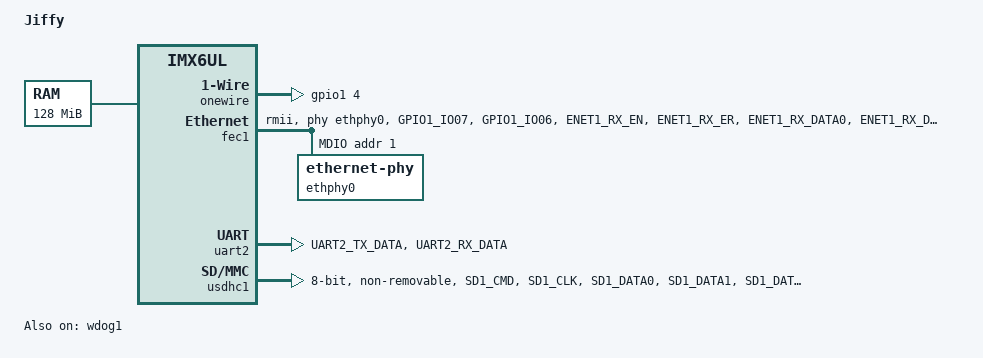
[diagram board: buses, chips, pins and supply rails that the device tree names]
/*
 * Jiffy R1 - J. Persson <jonpe960@gmail.com>
 */

/dts-v1/;

#include "imx6ul-jiffy.dtsi"

/ {
        model = "Jiffy";
        compatible = "fsl,imx6ul-14x14-evk", "fsl,imx6ul";

        chosen {
                bootargs = "console=ttymxc1,115200 ";
                linux,initrd-start = <0x00000000>;
                linux,initrd-end = <0x00000000>;
                stdout-path = &uart2;
        };

        memory@80000000 {
		device_type = "memory";
                reg = <0x80000000 0x8000000>;
        };

        regulators {
                compatible = "simple-bus";
                #address-cells = <1>;
                #size-cells = <0>;


        };

        onewire {
                compatible = "w1-gpio";
                gpios = <&gpio1 4 GPIO_ACTIVE_HIGH>;
        };
};

&clks {
        assigned-clocks = <&clks IMX6UL_CLK_PLL4_AUDIO_DIV>;
        assigned-clock-rates = <786432000>;
};

&fec1 {
        pinctrl-names = "default";
        pinctrl-0 = <&pinctrl_enet1>;
        phy-mode = "rmii";
        phy-handle = <&ethphy0>;
        phy-reset-gpios = <&gpio1 22 GPIO_ACTIVE_LOW>;
        phy-reset-duration = <10>;
        phy-reset-post-delay = <1>;
        status = "okay";
        mac-address = [5e fd f9 ca b5 3e];
        mdio {
                #address-cells = <1>;
                #size-cells = <0>;

                ethphy0: ethernet-phy@1 {
                        reg = <1>;
            status = "okay";
                };

        };

};

&snvs_poweroff {
        status = "okay";
};

&uart2 {
        pinctrl-names = "default";
        pinctrl-0 = <&pinctrl_uart2>;
        status = "okay";
};

&usdhc1 {
        pinctrl-names = "default";
        pinctrl-0 = <&pinctrl_usdhc1>;
        bus-width = <8>;
        no-1-8-v;
        non-removable;
        keep-power-in-suspend;
        no-sdio;
        no-sd;
        status = "okay";
};

&wdog1 {
        status = "okay";
};

&iomuxc {
        pinctrl-names = "default";
        pinctrl_enet1: enet1grp {
                fsl,pins = <
                        MX6UL_PAD_GPIO1_IO07__ENET1_MDC		0x1b0b0
                        MX6UL_PAD_GPIO1_IO06__ENET1_MDIO	0x1b0b0
                        MX6UL_PAD_ENET1_RX_EN__ENET1_RX_EN	0x1b0b0
                        MX6UL_PAD_ENET1_RX_ER__ENET1_RX_ER	0x1b0b0
                        MX6UL_PAD_ENET1_RX_DATA0__ENET1_RDATA00	0x1b0b0
                        MX6UL_PAD_ENET1_RX_DATA1__ENET1_RDATA01	0x1b0b0
                        MX6UL_PAD_ENET1_TX_EN__ENET1_TX_EN	0x1b0b0
                        MX6UL_PAD_ENET1_TX_DATA0__ENET1_TDATA00	0x1b0b0
                        MX6UL_PAD_ENET1_TX_DATA1__ENET1_TDATA01	0x1b0b0
                        MX6UL_PAD_ENET1_TX_CLK__ENET1_REF_CLK1	0x4001b031
                        // MX6UL_PAD_UART2_CTS_B__GPIO1_IO22	0x17059
                >;
        };

        pinctrl_uart2: uart2grp {
                fsl,pins = <
                        MX6UL_PAD_UART2_TX_DATA__UART2_DCE_TX	0x1b0b1
                        MX6UL_PAD_UART2_RX_DATA__UART2_DCE_RX	0x1b0b1
                >;
        };

        pinctrl_usdhc1: usdhc1grp {
                fsl,pins = <
                        MX6UL_PAD_SD1_CMD__USDHC1_CMD     0x170f9
                        MX6UL_PAD_SD1_CLK__USDHC1_CLK     0x100f9
                        MX6UL_PAD_SD1_DATA0__USDHC1_DATA0 0x170f9
                        MX6UL_PAD_SD1_DATA1__USDHC1_DATA1 0x170f9
                        MX6UL_PAD_SD1_DATA2__USDHC1_DATA2 0x170f9
                        MX6UL_PAD_SD1_DATA3__USDHC1_DATA3 0x170f9
                        MX6UL_PAD_NAND_READY_B__USDHC1_DATA4 0x170f9
                        MX6UL_PAD_NAND_CE0_B__USDHC1_DATA5 0x170f9
                        MX6UL_PAD_NAND_CE1_B__USDHC1_DATA6 0x170f9
                        MX6UL_PAD_NAND_CLE__USDHC1_DATA7 0x170f9
                >;
        };
};
